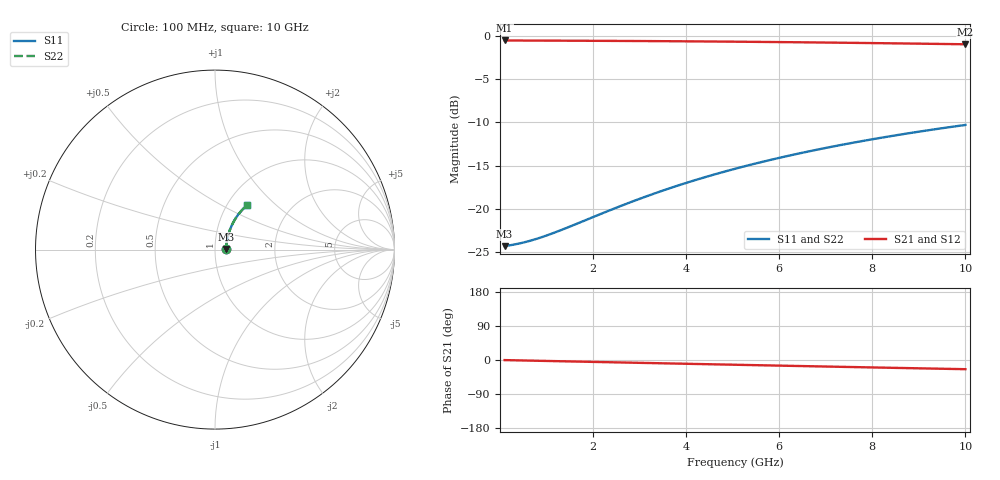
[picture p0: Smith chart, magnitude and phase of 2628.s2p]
# Hz S RI R 50.00
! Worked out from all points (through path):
!   100 points, 100 MHz to 10 GHz, reference 50 ohm
!   highest |S21| = -0.54 dB at 100 MHz (marker M1); lowest = -1.0 dB at 10 GHz (marker M2)
!   group delay of S21, straight-line fit = 6.75 ps
!   lowest |S11| = -24.3 dB at 100 MHz (marker M3), VSWR 1.13, Z = 56.5 + j0.332 ohm
!   |S11| at or under -10 dB: start of sweep to end of sweep
!   |S22| runs from -24.3 to -10.3 dB; largest |S21 - S12| = 0
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1e8  0.0608 0.00293  0.9392 -0.00411  0.9392 -0.00411  0.0608 0.00293
3e8  0.0615 0.00877  0.9385 -0.0123  0.9385 -0.0123  0.0615 0.00877
5e8  0.0621 0.0146  0.9379 -0.0205  0.9379 -0.0205  0.0621 0.0146
8e8  0.0631 0.0233  0.9369 -0.0328  0.9369 -0.0328  0.0631 0.0233
1e9  0.0638 0.0291  0.9362 -0.041  0.9362 -0.041  0.0638 0.0291
1.2e9  0.0645 0.0349  0.9354 -0.0491  0.9354 -0.0491  0.0645 0.0349
1.8e9  0.0673 0.0521  0.9324 -0.0735  0.9324 -0.0735  0.0673 0.0521
2.3e9  0.0702 0.0663  0.9294 -0.0936  0.9294 -0.0936  0.0702 0.0663
2.7e9  0.073 0.0775  0.9265 -0.1096  0.9265 -0.1096  0.073 0.0775
3.1e9  0.076 0.0887  0.9232 -0.1254  0.9232 -0.1254  0.076 0.0887
3.4e9  0.0786 0.0969  0.9205 -0.1373  0.9205 -0.1373  0.0786 0.0969
3.8e9  0.0823 0.1077  0.9166 -0.1529  0.9166 -0.1529  0.0823 0.1077
4.2e9  0.0864 0.1184  0.9123 -0.1683  0.9123 -0.1683  0.0864 0.1184
4.6e9  0.0908 0.1289  0.9076 -0.1836  0.9076 -0.1836  0.0908 0.1289
5.1e9  0.0968 0.1418  0.9012 -0.2024  0.9012 -0.2024  0.0968 0.1418
5.5e9  0.102 0.1519  0.8958 -0.2172  0.8958 -0.2172  0.102 0.1519
5.9e9  0.1074 0.1617  0.89 -0.2318  0.89 -0.2318  0.1074 0.1617
6.7e9  0.1193 0.1806  0.8774 -0.2603  0.8774 -0.2603  0.1193 0.1806
7.5e9  0.1322 0.1986  0.8636 -0.2878  0.8636 -0.2878  0.1322 0.1986
8.4e9  0.148 0.2174  0.8468 -0.3174  0.8468 -0.3174  0.148 0.2174
9.2e9  0.1629 0.233  0.8308 -0.3426  0.8308 -0.3426  0.1629 0.233
1e10  0.1787 0.2473  0.8139 -0.3666  0.8139 -0.3666  0.1787 0.2473
